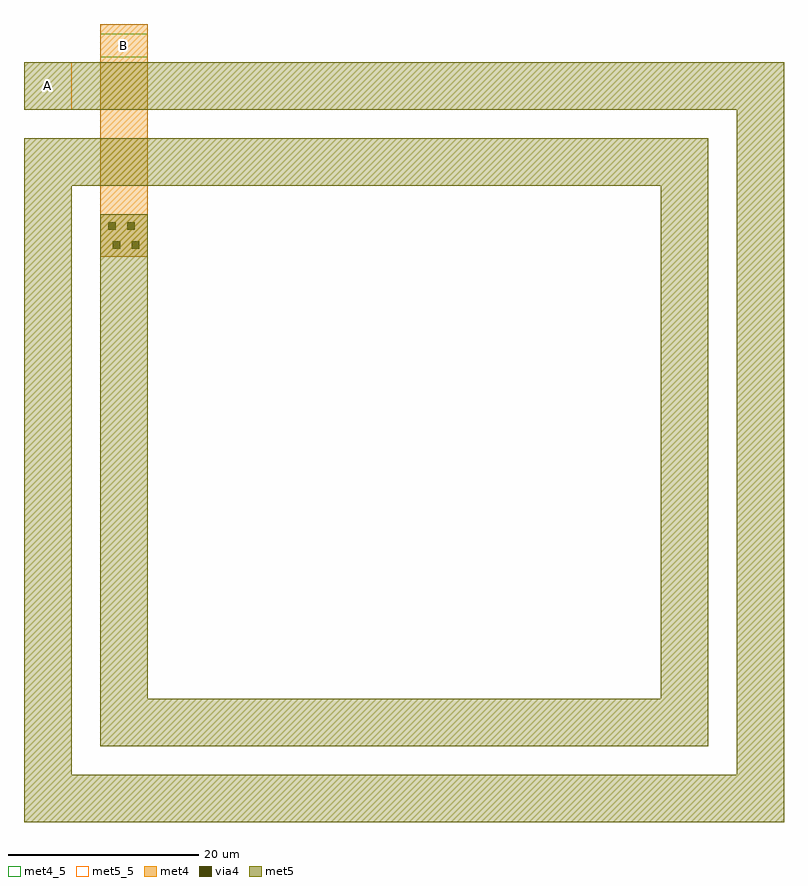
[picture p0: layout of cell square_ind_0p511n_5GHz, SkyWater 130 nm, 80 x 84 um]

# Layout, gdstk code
import gdstk
lib = gdstk.Library(unit=1e-6, precision=1e-09)
def R(c, l, rs):  # rectangles x0, y0, x1, y1
    for r in rs: c.add(gdstk.rectangle(r[:2], r[2:], *l))
met4_5 = (71, 5)
met4 = (71, 20)
via4 = (71, 44)
met5_5 = (72, 5)
met5 = (72, 20)

square_ind_0p511n_5ghz = lib.new_cell('square_ind_0p511n_5GHz')
R(square_ind_0p511n_5ghz, met4_5, [(9,18.5,14,21)])
R(square_ind_0p511n_5ghz, met4, [(9,-2.5,14,22)])
R(square_ind_0p511n_5ghz, via4, [(10.35,-1.65,11.15,-0.85), (12.35,-1.65,13.15,-0.85), (9.85,0.35,10.65,1.15), (11.85,0.35,12.65,1.15)])
R(square_ind_0p511n_5ghz, met5_5, [(1,13,6,18)])
R(square_ind_0p511n_5ghz, met5, [(1,-62,81,-57), (1,-57,6,5), (76,-57,81,13), (9,-54,73,-49), (9,-49,14,2), (68,-49,73,5), (1,5,73,10), (1,13,81,18)])
square_ind_0p511n_5ghz.add(gdstk.Label('A', (3.5,15.5), layer=72, texttype=5))
square_ind_0p511n_5ghz.add(gdstk.Label('B', (11.5,19.75), layer=71, texttype=5))

lib.write_gds('square_ind_0p511n_5GHz.gds')
